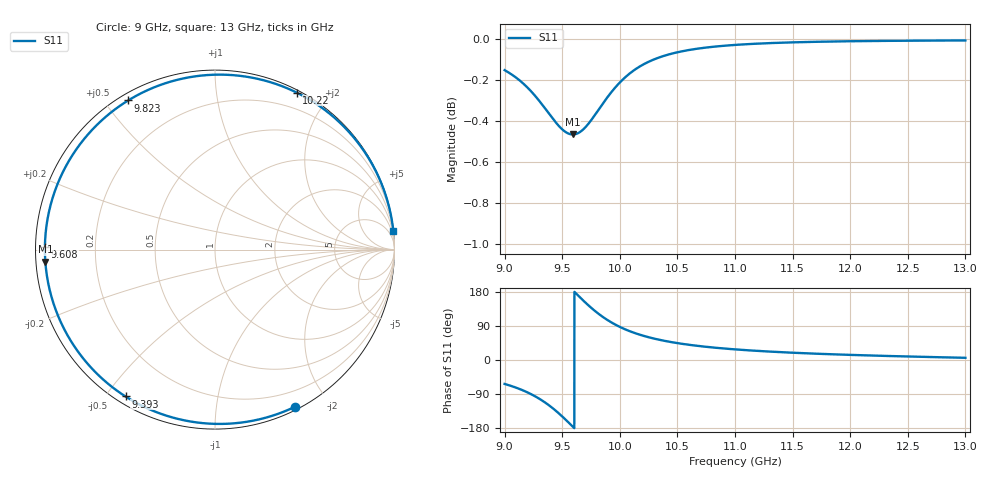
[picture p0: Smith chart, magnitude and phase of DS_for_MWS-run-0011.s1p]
! TOUCHSTONE file generated by CST DESIGN STUDIO
! Date and time: Tue Feb  4 17:55:30 2025
! Project name: C:\Work\MatlabApps\UnitCellOptimizationMatlab\CST\unitcell.cst
! Tree item: Tasks\Sweep1\SPara1\S-Parameters
! Header version: 2024
! Port assignment regex: !\s*Touchstone port\s*([0-9]+)\s*=\s*(CST MWS port|CST DES external port|CST DES block port)\s*(.+)\s* \(\"(.*)\"\)(\s*mode\s*([0-9]+))?.*
! Touchstone port assignment:
! Touchstone port 1 = CST DES external port 1 ("")
# GHz S MA R 50
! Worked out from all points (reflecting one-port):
!   4001 points, 9 GHz to 13 GHz, reference 50 ohm
!   lowest |S11| = -0.5 dB at 9.592 GHz (marker M1), VSWR 37.27, Z = 1.34 - j1.76 ohm
!   phase of S11 starts at -63 deg and turns -291 deg over the sweep
!   S11 on the Smith chart (normalised r, x): 9 GHz: 0.03, -1.63; 9.393 GHz: 0.03, -0.56; 9.608 GHz: 0.03, +0.01; 9.823 GHz: 0.03, +0.57; 10.22 GHz: 0.03, +1.65; 13 GHz: 0, +20
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9  0.9825 -63.2
9.05  0.9806 -67.8
9.12  0.9774 -75.3
9.241  0.9701 -91.9
9.322  0.964 -106.2
9.393  0.9582 -121.3
9.446  0.954 -134.3
9.5  0.9505 -148.9
9.548  0.9484 -162.8
9.592  0.9477 -176.0
9.608  0.9478 179.2
9.653  0.949 165.7
9.7  0.9515 152.0
9.762  0.9562 135.1
9.823  0.9616 120.2
9.862  0.9651 111.7
9.904  0.9686 103.4
10  0.9757 87.4
10.106  0.9816 73.7
10.221  0.9862 62.5
10.35  0.9897 52.9
10.5  0.9924 44.6
10.72  0.9948 35.8
11  0.9964 28.0
11.5  0.9979 19.2
12  0.9985 13.5
12.5  0.9988 9.3
13  0.9989 5.8
